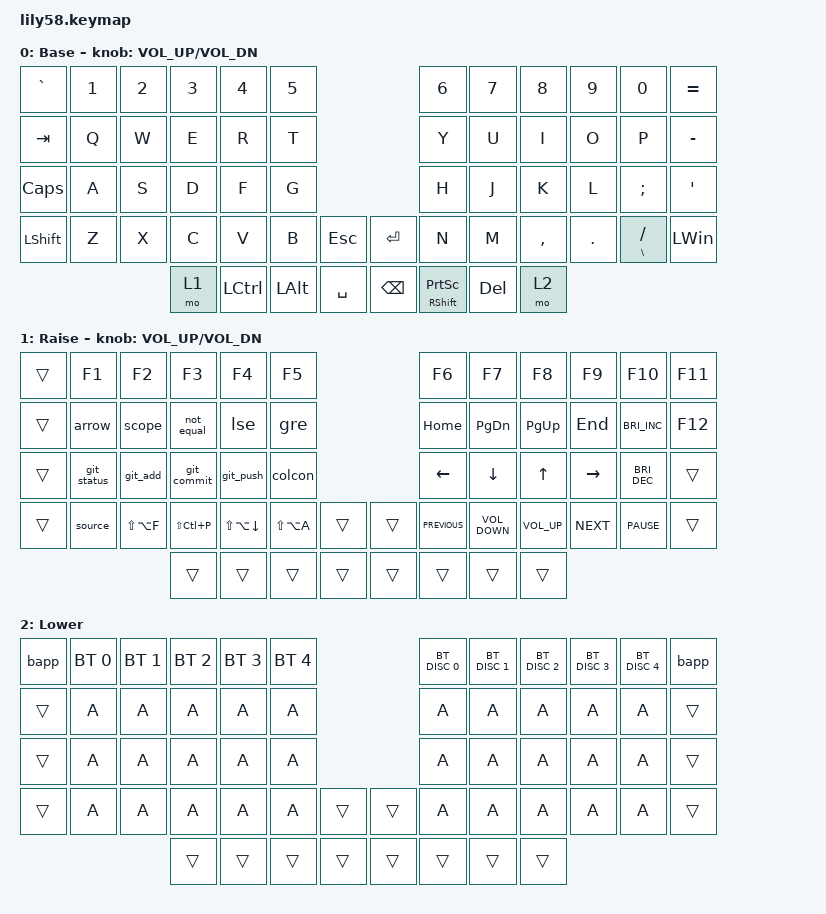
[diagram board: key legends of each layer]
/*
 * Copyright (c) 2020 The ZMK Contributors
 *
 * SPDX-License-Identifier: MIT
 */

#include <behaviors/battery_percentage_printer.dtsi>
#include <behaviors.dtsi>
#include <dt-bindings/zmk/bt.h>
#include <dt-bindings/zmk/keys.h>

/ {
    combos {
        compatible = "zmk,combos";

        quick_left_parenthesis {
            bindings = <&kp LEFT_PARENTHESIS>;
            key-positions = <19 20>;
        };

        quick_closing_parenthesis {
            bindings = <&kp RIGHT_PARENTHESIS>;
            key-positions = <20 21>;
        };

        quick_open_bracket {
            bindings = <&kp LEFT_BRACKET>;
            key-positions = <31 32>;
        };

        quick_closing_bracket-brace {
            bindings = <&kp RIGHT_BRACKET>;
            key-positions = <32 33>;
        };

        quick_underscore {
            bindings = <&kp UNDERSCORE>;
            key-positions = <36 53>;
        };
    };

    macros {
        arrow: arrow {
            compatible = "zmk,behavior-macro";
            #binding-cells = <0>;
            bindings = <&kp MINUS &kp GT>;
            label = "ARROW";
        };

        scope: scope {
            compatible = "zmk,behavior-macro";
            #binding-cells = <0>;
            bindings = <&kp COLON &kp COLON>;
            label = "SCOPE";
        };

        not_equal: not_equal {
            compatible = "zmk,behavior-macro";
            #binding-cells = <0>;
            bindings = <&kp EXCL &kp EQUAL>;
            label = "NOT_EQUAL";
        };

        gre: gre {
            compatible = "zmk,behavior-macro";
            #binding-cells = <0>;
            bindings = <&kp GT &kp EQUAL>;
            label = "GRE";
        };

        lse: lse {
            compatible = "zmk,behavior-macro";
            #binding-cells = <0>;
            bindings = <&kp LT &kp EQUAL>;
            label = "LSE";
        };

        git_status: git_status {
            compatible = "zmk,behavior-macro";
            #binding-cells = <0>;
            bindings = <&kp G &kp I &kp T &kp SPACE &kp S &kp T &kp A &kp T &kp U &kp S>;
            label = "GIT_STATUS";
        };

        git_add: git_add {
            compatible = "zmk,behavior-macro";
            #binding-cells = <0>;
            bindings = <&kp G &kp I &kp T &kp SPACE &kp A &kp D &kp D &kp SPACE>;
            label = "GIT_ADD";
        };

        git_commit: git_commit {
            compatible = "zmk,behavior-macro";
            #binding-cells = <0>;
            bindings = <&kp G &kp I &kp T &kp SPACE &kp C &kp O &kp M &kp M &kp I &kp T &kp SPACE &kp MINUS &kp M &kp SPACE &kp DQT &kp DQT &kp LEFT>;
            label = "GIT_COMMIT";
        };

        git_push: git_push {
            compatible = "zmk,behavior-macro";
            #binding-cells = <0>;
            bindings = <&kp G &kp I &kp T &kp SPACE &kp P &kp U &kp S &kp H>;
            label = "GIT_PUSH";
        };

        colcon: colcon {
            compatible = "zmk,behavior-macro";
            #binding-cells = <0>;
            bindings = <&kp C &kp O &kp L &kp C &kp O &kp N &kp SPACE &kp B &kp U &kp I &kp L &kp D &kp SPACE &kp MINUS &kp MINUS &kp S &kp Y &kp M &kp L &kp I &kp N &kp K &kp MINUS &kp I &kp N &kp S &kp T &kp A &kp L &kp L>;
            label = "COLCON";
        };

        source: source {
            compatible = "zmk,behavior-macro";
            #binding-cells = <0>;
            bindings = <&none &kp S &kp O &kp U &kp R &kp C &kp E &kp SPACE &kp I &kp N &kp S &kp T &kp A &kp L &kp L &kp FSLH &kp S &kp E &kp T &kp U &kp P &kp DOT &kp B &kp A &kp S &kp H>;
            label = "SOURCE";
        };
    };

    keymap {
        compatible = "zmk,keymap";

        default_layer {
            // ------------------------------------------------------------------------------------------------------------
            // |  ESC  |  1  |  2  |  3   |  4   |  5   |                   |  6   |  7    |  8    |  9   |   0   |   `   |
            // |  TAB  |  Q  |  W  |  E   |  R   |  T   |                   |  Y   |  U    |  I    |  O   |   P   |   -   |
            // |  CTRL |  A  |  S  |  D   |  F   |  G   |                   |  H   |  J    |  K    |  L   |   ;   |   '   |
            // | SHIFT |  Z  |  X  |  C   |  V   |  B   |   "["  |  |  "]"  |  N   |  M    |  ,    |  .   |   /   | SHIFT |
            //                     | ALT  | GUI  | LOWER|  SPACE |  | ENTER | RAISE| BSPC  | GUI   |

            display-name = "Base";
            bindings = <
&kp GRAVE     &kp N1  &kp N2  &kp N3  &kp N4     &kp N5                                    &kp N6                       &kp N7      &kp N8     &kp N9   &kp N0               &kp EQUAL
&kp TAB       &kp Q   &kp W   &kp E   &kp R      &kp T                                     &kp Y                        &kp U       &kp I      &kp O    &kp P                &kp MINUS
&kp CAPSLOCK  &kp A   &kp S   &kp D   &kp F      &kp G                                     &kp H                        &kp J       &kp K      &kp L    &kp SEMI             &kp SQT
&kp LSHFT     &kp Z   &kp X   &kp C   &kp V      &kp B         &kp ESC      &kp ENTER      &kp N                        &kp M       &kp COMMA  &kp DOT  &mt BACKSLASH SLASH  &kp LEFT_WIN
                              &mo 1   &kp LCTRL  &kp LEFT_ALT  &kp SPACE    &kp BACKSPACE  &mt RIGHT_SHIFT PRINTSCREEN  &kp DELETE  &mo 2
            >;

            sensor-bindings = <&inc_dec_kp C_VOL_UP C_VOL_DN>;
        };

        raise_layer {
            // ------------------------------------------------------------------------------------------------------------
            // |       |     |     |      |      |      |                   |      |       |       |      |       |       |
            // |   `   |  1  |  2  |  3   |  4   |  5   |                   |  6   |   7   |   8   |  9   |   0   |       |
            // |   F1  |  F2 |  F3 |  F4  |  F5  |  F6  |                   |      |   <-  |   v   |  ^   |  ->   |       |
            // |   F7  |  F8 |  F9 |  F10 |  F11 |  F12 |        |  |       |  +   |   -   |   =   |  [   |   ]   |   \   |
            //                     |      |      |      |        |  |       |      |       |       |

            display-name = "Raise";
            bindings = <
&trans  &kp F1       &kp F2         &kp F3         &kp F4                  &kp F5                           &kp F6          &kp F7             &kp F8           &kp F9      &kp F10               &kp F11
&trans  &arrow       &scope         &not_equal     &lse                    &gre                             &kp HOME        &kp PAGE_DOWN      &kp PAGE_UP      &kp END     &kp C_BRIGHTNESS_INC  &kp F12
&trans  &git_status  &git_add       &git_commit    &git_push               &colcon                          &kp LEFT        &kp DOWN           &kp UP_ARROW     &kp RIGHT   &kp C_BRIGHTNESS_DEC  &trans
&trans  &source      &kp LS(LA(F))  &kp LS(LC(P))  &kp LS(LA(DOWN_ARROW))  &kp LS(LA(A))  &trans    &trans  &kp C_PREVIOUS  &kp C_VOLUME_DOWN  &kp C_VOLUME_UP  &kp C_NEXT  &kp C_PAUSE           &trans
                                    &trans         &trans                  &trans         &trans    &trans  &trans          &trans             &trans
            >;

            sensor-bindings = <&inc_dec_kp C_VOL_UP C_VOL_DN>;
        };

        lower_layer {
            // ------------------------------------------------------------------------------------------------------------
            // | BTCLR | BT1 | BT2 |  BT3 |  BT4 |  BT5 |                   |      |       |       |      |       |       |
            // |  F1   |  F2 |  F3 |  F4  |  F5  |  F6  |                   |  F7  |  F8   |  F9   |  F10 |  F11  |  F12  |
            // |   `   |  !  |  @  |  #   |  $   |  %   |                   |  ^   |  &    |  *    |  (   |   )   |   ~   |
            // |       |     |     |      |      |      |        |  |       |      |  _    |  +    |  {   |   }   |  "|"  |
            //                     |      |      |      |        |  |       |      |       |       |

            display-name = "Lower";
            bindings = <
&bapp   &bt BT_SEL 0  &bt BT_SEL 1  &bt BT_SEL 2  &bt BT_SEL 3  &bt BT_SEL 4                    &bt BT_DISC 0  &bt BT_DISC 1  &bt BT_DISC 2  &bt BT_DISC 3  &bt BT_DISC 4  &bapp
&trans  &kp A         &kp A         &kp A         &kp A         &kp A                           &kp A          &kp A          &kp A          &kp A          &kp A          &trans
&trans  &kp A         &kp A         &kp A         &kp A         &kp A                           &kp A          &kp A          &kp A          &kp A          &kp A          &trans
&trans  &kp A         &kp A         &kp A         &kp A         &kp A         &trans    &trans  &kp A          &kp A          &kp A          &kp A          &kp A          &trans
                                    &trans        &trans        &trans        &trans    &trans  &trans         &trans         &trans
            >;
        };
    };
};
